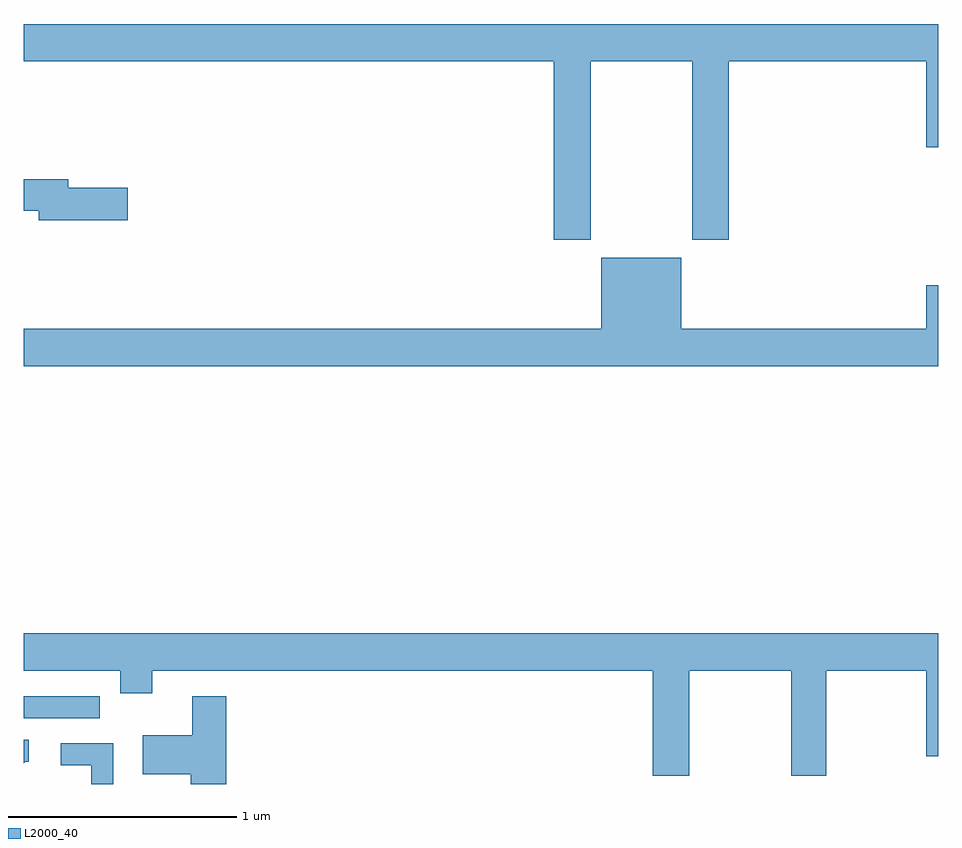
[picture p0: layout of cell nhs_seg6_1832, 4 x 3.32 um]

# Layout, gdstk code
import gdstk
lib = gdstk.Library(unit=1e-6, precision=1e-09)
def P(c, l, *ps):  # polygons
    for p in ps: c.add(gdstk.Polygon(p, *l))
L2000_40 = (2000, 40)

nhs_seg6_1832 = lib.new_cell('nhs_seg6_1832')
P(nhs_seg6_1832, L2000_40, [(223.479,956.66),(223.924,956.66),(223.924,955.881),(224.084,955.881),(224.084,956.66),(224.948,956.66),(224.948,956.286),(225,956.286),(225,956.824),(221,956.824),(221,956.66),(223.319,956.66),(223.319,955.881),(223.479,955.881)],
  [(221.455,956.108),(221.194,956.108),(221.194,956.144),(221,956.144),(221,956.008),(221.066,956.008),(221.066,955.966),(221.455,955.966)],
  [(225,955.681),(224.948,955.681),(224.948,955.492),(223.876,955.492),(223.876,955.801),(223.526,955.801),(223.526,955.492),(221,955.492),(221,955.328),(225,955.328)],
  [(223.911,953.996),(224.356,953.996),(224.356,953.535),(224.511,953.535),(224.511,953.996),(224.948,953.996),(224.948,953.622),(225,953.622),(225,954.16),(221,954.16),(221,953.996),(221.423,953.996),(221.423,953.897),(221.563,953.897),(221.563,953.996),(223.751,953.996),(223.751,953.535),(223.911,953.535)],
  [(221.332,953.883),(221.003,953.883),(221.003,953.884),(221,953.884),(221,953.787),(221.332,953.787)],
  [(221.885,953.884),(221.738,953.884),(221.738,953.713),(221.52,953.713),(221.52,953.543),(221.731,953.543),(221.731,953.5),(221.885,953.5)],
  [(221.007,953.598),(221.023,953.598),(221.023,953.694),(221,953.694),(221,953.591)],
  [(221.391,953.679),(221.163,953.679),(221.163,953.583),(221.295,953.583),(221.295,953.5),(221.391,953.5)])

lib.write_gds('nhs_seg6_1832.gds')
